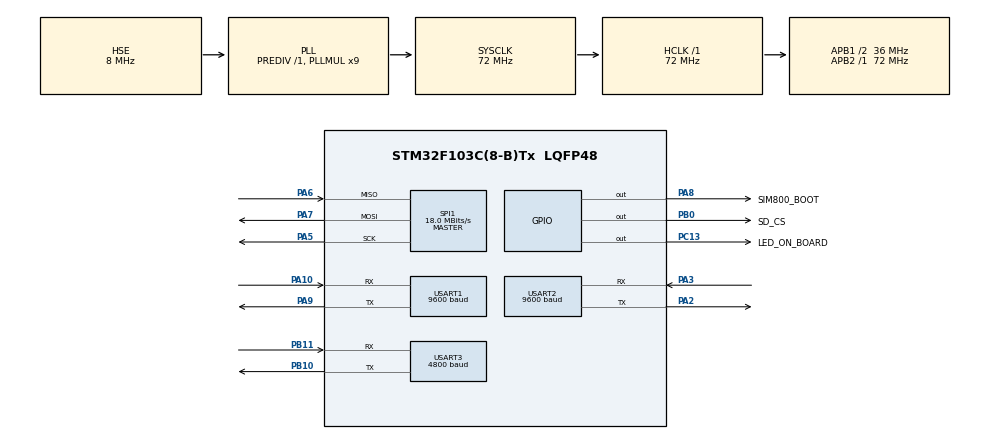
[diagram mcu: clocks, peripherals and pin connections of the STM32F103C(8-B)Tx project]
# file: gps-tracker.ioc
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Dma.Request0=USART1_RX
Dma.Request1=USART1_TX
Dma.Request2=USART3_RX
Dma.Request3=USART3_TX
Dma.USART1_RX.0.Direction=DMA_PERIPH_TO_MEMORY
Dma.USART1_RX.0.Instance=DMA1_Channel5
Dma.USART1_RX.0.MemDataAlignment=DMA_MDATAALIGN_BYTE
Dma.USART1_RX.0.MemInc=DMA_MINC_ENABLE
Dma.USART1_RX.0.Mode=DMA_CIRCULAR
Dma.USART1_RX.0.PeriphDataAlignment=DMA_PDATAALIGN_BYTE
Dma.USART1_RX.0.PeriphInc=DMA_PINC_DISABLE
Dma.USART1_RX.0.Priority=DMA_PRIORITY_LOW
Dma.USART1_TX.1.Direction=DMA_MEMORY_TO_PERIPH
Dma.USART1_TX.1.Instance=DMA1_Channel4
Dma.USART1_TX.1.MemDataAlignment=DMA_MDATAALIGN_BYTE
Dma.USART1_TX.1.MemInc=DMA_MINC_ENABLE
Dma.USART1_TX.1.Mode=DMA_NORMAL
Dma.USART1_TX.1.PeriphDataAlignment=DMA_PDATAALIGN_BYTE
Dma.USART1_TX.1.PeriphInc=DMA_PINC_DISABLE
Dma.USART1_TX.1.Priority=DMA_PRIORITY_LOW
Dma.USART3_RX.2.Direction=DMA_PERIPH_TO_MEMORY
Dma.USART3_RX.2.Instance=DMA1_Channel3
Dma.USART3_RX.2.MemDataAlignment=DMA_MDATAALIGN_BYTE
Dma.USART3_RX.2.MemInc=DMA_MINC_ENABLE
Dma.USART3_RX.2.Mode=DMA_CIRCULAR
Dma.USART3_RX.2.PeriphDataAlignment=DMA_PDATAALIGN_BYTE
Dma.USART3_RX.2.PeriphInc=DMA_PINC_DISABLE
Dma.USART3_RX.2.Priority=DMA_PRIORITY_LOW
Dma.USART3_TX.3.Direction=DMA_MEMORY_TO_PERIPH
Dma.USART3_TX.3.Instance=DMA1_Channel2
Dma.USART3_TX.3.MemDataAlignment=DMA_MDATAALIGN_BYTE
Dma.USART3_TX.3.MemInc=DMA_MINC_ENABLE
Dma.USART3_TX.3.Mode=DMA_NORMAL
Dma.USART3_TX.3.PeriphDataAlignment=DMA_PDATAALIGN_BYTE
Dma.USART3_TX.3.PeriphInc=DMA_PINC_DISABLE
Dma.USART3_TX.3.Priority=DMA_PRIORITY_LOW
FREERTOS.Tasks01=defaultTask,0,128,StartDefaultTask,Default,NULL
Mcu.Family=STM32F1
Mcu.Name=STM32F103C(8-B)Tx
Mcu.Package=LQFP48
NVIC.DMA1_Channel2_IRQn=true\:5\:0\:false\:false\:true\:true\:false
NVIC.DMA1_Channel3_IRQn=true\:5\:0\:false\:false\:true\:true\:false
NVIC.DMA1_Channel4_IRQn=true\:5\:0\:false\:false\:true\:true\:false
NVIC.DMA1_Channel5_IRQn=true\:5\:0\:false\:false\:true\:true\:false
NVIC.PriorityGroup=NVIC_PRIORITYGROUP_4
NVIC.TIM1_UP_IRQn=true\:0\:0\:false\:false\:true\:false\:false
NVIC.TimeBase=TIM1_UP_IRQn
NVIC.TimeBaseIP=TIM1
NVIC.USART1_IRQn=true\:5\:0\:false\:false\:true\:true\:true
NVIC.USART2_IRQn=true\:5\:0\:false\:false\:true\:true\:true
PA10.Mode=Asynchronous
PA10.Signal=USART1_RX
PA13.Mode=Serial_Wire
PA13.Signal=SYS_JTMS-SWDIO
PA14.Mode=Serial_Wire
PA14.Signal=SYS_JTCK-SWCLK
PA2.Mode=Asynchronous
PA2.Signal=USART2_TX
PA3.Mode=Asynchronous
PA3.Signal=USART2_RX
PA5.Mode=Full_Duplex_Master
PA5.Signal=SPI1_SCK
PA6.Mode=Full_Duplex_Master
PA6.Signal=SPI1_MISO
PA7.Mode=Full_Duplex_Master
PA7.Signal=SPI1_MOSI
PA8.GPIO_Label=SIM800_BOOT
PA8.Signal=GPIO_Output
PA9.Mode=Asynchronous
PA9.Signal=USART1_TX
PB0.GPIO_Label=SD_CS
PB0.Signal=GPIO_Output
PB10.Mode=Asynchronous
PB10.Signal=USART3_TX
PB11.Mode=Asynchronous
PB11.Signal=USART3_RX
PC13-TAMPER-RTC.GPIO_Label=LED_ON_BOARD
PC13-TAMPER-RTC.Signal=GPIO_Output
PD0-OSC_IN.Mode=HSE-External-Oscillator
PD0-OSC_IN.Signal=RCC_OSC_IN
PD1-OSC_OUT.Mode=HSE-External-Oscillator
PD1-OSC_OUT.Signal=RCC_OSC_OUT
ProjectManager.HeapSize=0x200
ProjectManager.StackSize=0x400
ProjectManager.TargetToolchain=SW4STM32
RCC.AHBFreq_Value=72000000
RCC.APB1CLKDivider=RCC_HCLK_DIV2
RCC.APB1Freq_Value=36000000
RCC.APB1TimFreq_Value=72000000
RCC.APB2Freq_Value=72000000
RCC.APB2TimFreq_Value=72000000
RCC.HCLKFreq_Value=72000000
RCC.PLLMUL=RCC_PLL_MUL9
RCC.PLLSourceVirtual=RCC_PLLSOURCE_HSE
RCC.SYSCLKFreq_VALUE=72000000
RCC.SYSCLKSource=RCC_SYSCLKSOURCE_PLLCLK
RCC.USBFreq_Value=72000000
SPI1.BaudRatePrescaler=SPI_BAUDRATEPRESCALER_4
SPI1.CalculateBaudRate=18.0 MBits/s
SPI1.Direction=SPI_DIRECTION_2LINES
SPI1.Mode=SPI_MODE_MASTER
SPI1.VirtualType=VM_MASTER
USART1.BaudRate=9600
USART1.VirtualMode=VM_ASYNC
USART2.BaudRate=9600
USART2.VirtualMode=VM_ASYNC
USART3.BaudRate=4800
USART3.VirtualMode=VM_ASYNC
VP_FATFS_VS_Generic.Mode=User_defined
VP_FREERTOS_VS_ENABLE.Mode=Enabled
VP_SYS_VS_tim1.Mode=TIM1
board=custom

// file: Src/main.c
/* USER CODE BEGIN Header */
/**
  ******************************************************************************
  * @file           : main.c
  * @brief          : Main program body
  ******************************************************************************
  * This notice applies to any and all portions of this file
  * that are not between comment pairs USER CODE BEGIN and
  * USER CODE END. Other portions of this file, whether
  * inserted by the user or by software development tools
  * are owned by their respective copyright owners.
  *
  * Copyright (c) 2019 STMicroelectronics International N.V.
  * All rights reserved.
  *
  * Redistribution and use in source and binary forms, with or without
  * modification, are permitted, provided that the following conditions are met:
  *
  * 1. Redistribution of source code must retain the above copyright notice,
  *    this list of conditions and the following disclaimer.
  * 2. Redistributions in binary form must reproduce the above copyright notice,
  *    this list of conditions and the following disclaimer in the documentation
  *    and/or other materials provided with the distribution.
  * 3. Neither the name of STMicroelectronics nor the names of other
  *    contributors to this software may be used to endorse or promote products
  *    derived from this software without specific written permission.
  * 4. This software, including modifications and/or derivative works of this
  *    software, must execute solely and exclusively on microcontroller or
  *    microprocessor devices manufactured by or for STMicroelectronics.
  * 5. Redistribution and use of this software other than as permitted under
  *    this license is void and will automatically terminate your rights under
  *    this license.
  *
  * THIS SOFTWARE IS PROVIDED BY STMICROELECTRONICS AND CONTRIBUTORS "AS IS"
  * AND ANY EXPRESS, IMPLIED OR STATUTORY WARRANTIES, INCLUDING, BUT NOT
  * LIMITED TO, THE IMPLIED WARRANTIES OF MERCHANTABILITY, FITNESS FOR A
  * PARTICULAR PURPOSE AND NON-INFRINGEMENT OF THIRD PARTY INTELLECTUAL PROPERTY
  * RIGHTS ARE DISCLAIMED TO THE FULLEST EXTENT PERMITTED BY LAW. IN NO EVENT
  * SHALL STMICROELECTRONICS OR CONTRIBUTORS BE LIABLE FOR ANY DIRECT, INDIRECT,
  * INCIDENTAL, SPECIAL, EXEMPLARY, OR CONSEQUENTIAL DAMAGES (INCLUDING, BUT NOT
  * LIMITED TO, PROCUREMENT OF SUBSTITUTE GOODS OR SERVICES; LOSS OF USE, DATA,
  * OR PROFITS; OR BUSINESS INTERRUPTION) HOWEVER CAUSED AND ON ANY THEORY OF
  * LIABILITY, WHETHER IN CONTRACT, STRICT LIABILITY, OR TORT (INCLUDING
  * NEGLIGENCE OR OTHERWISE) ARISING IN ANY WAY OUT OF THE USE OF THIS SOFTWARE,
  * EVEN IF ADVISED OF THE POSSIBILITY OF SUCH DAMAGE.
  *
  ******************************************************************************
  */
/* USER CODE END Header */

#include "main.h"
#include "cmsis_os.h"
#include "fatfs.h"

/* USER CODE BEGIN Includes */
#include "utils/SDcard.h"
#include "utils/uart_debug.h"
#include "utils/SIM800.h"
#include "utils/GP4SF1109F2.h"
#include "tasks/GSM_module_task.h"
#include "tasks/GPS_module_task.h"
/* USER CODE END Includes */

SPI_HandleTypeDef hspi1;

UART_HandleTypeDef huart1;
UART_HandleTypeDef huart2;
UART_HandleTypeDef huart3;
DMA_HandleTypeDef hdma_usart1_rx;
DMA_HandleTypeDef hdma_usart1_tx;
DMA_HandleTypeDef hdma_usart3_rx;
DMA_HandleTypeDef hdma_usart3_tx;

osThreadId defaultTaskHandle;
/* USER CODE BEGIN PV */
osThreadId GSMModuleTaskHandle;
osThreadId GPSModuleTaskHandle;
/* USER CODE END PV */

char DATE[9] = "xxxxxxxx"; // YYYYmmdd\0

void SystemClock_Config(void);
static void MX_GPIO_Init(void);
static void MX_DMA_Init(void);
static void MX_SPI1_Init(void);
static void MX_USART1_UART_Init(void);
static void MX_USART2_UART_Init(void);
static void MX_USART3_UART_Init(void);
void StartDefaultTask(void const * argument);

int main(void)
{

  /* MCU Configuration--------------------------------------------------------*/

  /* Reset of all peripherals, Initializes the Flash interface and the Systick. */
  HAL_Init();

  /* Configure the system clock */
  SystemClock_Config();

  /* Initialize all configured peripherals */
  MX_GPIO_Init();
  MX_DMA_Init();
  MX_SPI1_Init();
  MX_USART1_UART_Init();
  MX_USART2_UART_Init();
  MX_USART3_UART_Init();
  /* USER CODE BEGIN 2 */
  SDcard_init();

  // TODO move to GPS task
  GPSinit(&huart3);

    HAL_UART_Transmit_DMA(&huart1, (uint8_t*)"---------\r\n", 11);

    GPS_Msg_t *GPSMsg;

    for(;;){
        GPSMsg = GPS_waitMessage(30000);
        if (GPSMsg->isMsgReceived == 1) {
            SDCard_save(DATE, GPSMsg->msg);
            HAL_UART_Transmit_DMA(&huart1, (uint8_t*)GPSMsg->msg, GPSMsg->msgBuffSize);
            HAL_Delay(100);
        }

  //      HAL_Delay(200);
    }

  /* USER CODE END 2 */

  /* Create the thread(s) */
  /* definition and creation of defaultTask */
  osThreadDef(defaultTask, StartDefaultTask, osPriorityNormal, 0, 128);
  defaultTaskHandle = osThreadCreate(osThread(defaultTask), NULL);

  /* USER CODE BEGIN RTOS_THREADS */

  // GSM task - receive and handle commands
  osThreadDef(GSMModuleTask, StartGSMModuleTask, osPriorityNormal, 0, 128);
  GSMModuleTaskHandle = osThreadCreate(osThread(GSMModuleTask), NULL);

  // GPS task
  osThreadDef(GPSModuleTask, StartGPSModuleTask, osPriorityNormal, 0, 128);
  GPSModuleTaskHandle = osThreadCreate(osThread(GPSModuleTask), NULL);

  /* USER CODE END RTOS_THREADS */

  /* Start scheduler */
  osKernelStart();

  /* We should never get here as control is now taken by the scheduler */

  /* Infinite loop */
  while (1)
  {

  }
}

void SystemClock_Config(void)
{
  RCC_OscInitTypeDef RCC_OscInitStruct = {0};
  RCC_ClkInitTypeDef RCC_ClkInitStruct = {0};

  /**Initializes the CPU, AHB and APB busses clocks
  */
  RCC_OscInitStruct.OscillatorType = RCC_OSCILLATORTYPE_HSE;
  RCC_OscInitStruct.HSEState = RCC_HSE_ON;
  RCC_OscInitStruct.HSEPredivValue = RCC_HSE_PREDIV_DIV1;
  RCC_OscInitStruct.HSIState = RCC_HSI_ON;
  RCC_OscInitStruct.PLL.PLLState = RCC_PLL_ON;
  RCC_OscInitStruct.PLL.PLLSource = RCC_PLLSOURCE_HSE;
  RCC_OscInitStruct.PLL.PLLMUL = RCC_PLL_MUL9;
  if (HAL_RCC_OscConfig(&RCC_OscInitStruct) != HAL_OK)
  {
    Error_Handler();
  }
  /**Initializes the CPU, AHB and APB busses clocks
  */
  RCC_ClkInitStruct.ClockType = RCC_CLOCKTYPE_HCLK|RCC_CLOCKTYPE_SYSCLK
                              |RCC_CLOCKTYPE_PCLK1|RCC_CLOCKTYPE_PCLK2;
  RCC_ClkInitStruct.SYSCLKSource = RCC_SYSCLKSOURCE_PLLCLK;
  RCC_ClkInitStruct.AHBCLKDivider = RCC_SYSCLK_DIV1;
  RCC_ClkInitStruct.APB1CLKDivider = RCC_HCLK_DIV2;
  RCC_ClkInitStruct.APB2CLKDivider = RCC_HCLK_DIV1;

  if (HAL_RCC_ClockConfig(&RCC_ClkInitStruct, FLASH_LATENCY_2) != HAL_OK)
  {
    Error_Handler();
  }
}

static void MX_SPI1_Init(void)
{

  /* SPI1 parameter configuration*/
  hspi1.Instance = SPI1;
  hspi1.Init.Mode = SPI_MODE_MASTER;
  hspi1.Init.Direction = SPI_DIRECTION_2LINES;
  hspi1.Init.DataSize = SPI_DATASIZE_8BIT;
  hspi1.Init.CLKPolarity = SPI_POLARITY_LOW;
  hspi1.Init.CLKPhase = SPI_PHASE_1EDGE;
  hspi1.Init.NSS = SPI_NSS_SOFT;
  hspi1.Init.BaudRatePrescaler = SPI_BAUDRATEPRESCALER_4;
  hspi1.Init.FirstBit = SPI_FIRSTBIT_MSB;
  hspi1.Init.TIMode = SPI_TIMODE_DISABLE;
  hspi1.Init.CRCCalculation = SPI_CRCCALCULATION_DISABLE;
  hspi1.Init.CRCPolynomial = 10;
  if (HAL_SPI_Init(&hspi1) != HAL_OK)
  {
    Error_Handler();
  }

}

static void MX_USART1_UART_Init(void)
{

  huart1.Instance = USART1;
  huart1.Init.BaudRate = 9600;
  huart1.Init.WordLength = UART_WORDLENGTH_8B;
  huart1.Init.StopBits = UART_STOPBITS_1;
  huart1.Init.Parity = UART_PARITY_NONE;
  huart1.Init.Mode = UART_MODE_TX_RX;
  huart1.Init.HwFlowCtl = UART_HWCONTROL_NONE;
  huart1.Init.OverSampling = UART_OVERSAMPLING_16;
  if (HAL_UART_Init(&huart1) != HAL_OK)
  {
    Error_Handler();
  }

}

static void MX_USART2_UART_Init(void)
{

  huart2.Instance = USART2;
  huart2.Init.BaudRate = 9600;
  huart2.Init.WordLength = UART_WORDLENGTH_8B;
  huart2.Init.StopBits = UART_STOPBITS_1;
  huart2.Init.Parity = UART_PARITY_NONE;
  huart2.Init.Mode = UART_MODE_TX_RX;
  huart2.Init.HwFlowCtl = UART_HWCONTROL_NONE;
  huart2.Init.OverSampling = UART_OVERSAMPLING_16;
  if (HAL_UART_Init(&huart2) != HAL_OK)
  {
    Error_Handler();
  }

}

static void MX_USART3_UART_Init(void)
{

  huart3.Instance = USART3;
  //huart3.Init.BaudRate = 4800;
  huart3.Init.BaudRate = 9600;
  huart3.Init.WordLength = UART_WORDLENGTH_8B;
  huart3.Init.StopBits = UART_STOPBITS_1;
  huart3.Init.Parity = UART_PARITY_NONE;
  huart3.Init.Mode = UART_MODE_TX_RX;
  huart3.Init.HwFlowCtl = UART_HWCONTROL_NONE;
  huart3.Init.OverSampling = UART_OVERSAMPLING_16;
  if (HAL_UART_Init(&huart3) != HAL_OK)
  {
    Error_Handler();
  }

}

static void MX_DMA_Init(void)
{
  /* DMA controller clock enable */
  __HAL_RCC_DMA1_CLK_ENABLE();

  /* DMA interrupt init */
  /* DMA1_Channel2_IRQn interrupt configuration */
  HAL_NVIC_SetPriority(DMA1_Channel2_IRQn, 5, 0);
  HAL_NVIC_EnableIRQ(DMA1_Channel2_IRQn);
  /* DMA1_Channel3_IRQn interrupt configuration */
  HAL_NVIC_SetPriority(DMA1_Channel3_IRQn, 5, 0);
  HAL_NVIC_EnableIRQ(DMA1_Channel3_IRQn);
  /* DMA1_Channel4_IRQn interrupt configuration */
  HAL_NVIC_SetPriority(DMA1_Channel4_IRQn, 5, 0);
  HAL_NVIC_EnableIRQ(DMA1_Channel4_IRQn);
  /* DMA1_Channel5_IRQn interrupt configuration */
  HAL_NVIC_SetPriority(DMA1_Channel5_IRQn, 5, 0);
  HAL_NVIC_EnableIRQ(DMA1_Channel5_IRQn);

}

static void MX_GPIO_Init(void)
{
  GPIO_InitTypeDef GPIO_InitStruct = {0};

  /* GPIO Ports Clock Enable */
  __HAL_RCC_GPIOC_CLK_ENABLE();
  __HAL_RCC_GPIOD_CLK_ENABLE();
  __HAL_RCC_GPIOA_CLK_ENABLE();
  __HAL_RCC_GPIOB_CLK_ENABLE();

  /*Configure GPIO pin Output Level */
  HAL_GPIO_WritePin(LED_ON_BOARD_GPIO_Port, LED_ON_BOARD_Pin, GPIO_PIN_RESET);

  /*Configure GPIO pin Output Level */
  HAL_GPIO_WritePin(SD_CS_GPIO_Port, SD_CS_Pin, GPIO_PIN_RESET);

  /*Configure GPIO pin Output Level */
  HAL_GPIO_WritePin(SIM800_BOOT_GPIO_Port, SIM800_BOOT_Pin, GPIO_PIN_RESET);

  /*Configure GPIO pin : LED_ON_BOARD_Pin */
  GPIO_InitStruct.Pin = LED_ON_BOARD_Pin;
  GPIO_InitStruct.Mode = GPIO_MODE_OUTPUT_PP;
  GPIO_InitStruct.Pull = GPIO_NOPULL;
  GPIO_InitStruct.Speed = GPIO_SPEED_FREQ_LOW;
  HAL_GPIO_Init(LED_ON_BOARD_GPIO_Port, &GPIO_InitStruct);

  /*Configure GPIO pin : SD_CS_Pin */
  GPIO_InitStruct.Pin = SD_CS_Pin;
  GPIO_InitStruct.Mode = GPIO_MODE_OUTPUT_PP;
  GPIO_InitStruct.Pull = GPIO_NOPULL;
  GPIO_InitStruct.Speed = GPIO_SPEED_FREQ_LOW;
  HAL_GPIO_Init(SD_CS_GPIO_Port, &GPIO_InitStruct);

  /*Configure GPIO pin : SIM800_BOOT_Pin */
  GPIO_InitStruct.Pin = SIM800_BOOT_Pin;
  GPIO_InitStruct.Mode = GPIO_MODE_OUTPUT_PP;
  GPIO_InitStruct.Pull = GPIO_NOPULL;
  GPIO_InitStruct.Speed = GPIO_SPEED_FREQ_LOW;
  HAL_GPIO_Init(SIM800_BOOT_GPIO_Port, &GPIO_InitStruct);

}

/* USER CODE BEGIN 4 */
void HAL_UART_RxCpltCallback(UART_HandleTypeDef *huart) {
    // receive data from GSM SIM800
       if (huart == &huart1) {
           SIM800_Rx_callback(huart);
       } else if(huart == &huart3) {
           GPS_Rx_callback(&huart3);
       }
}

void HAL_UART_TxCpltCallback(UART_HandleTypeDef *huart) {
    if (huart == &huart1) {
        SIM800_Tx_callback(huart);
    }
}

void UART_DMA_Check_Rx_Buff(UART_DMA_Rx_t *RxBuff)
{
    uint16_t currCNDTR = __HAL_DMA_GET_COUNTER(RxBuff->huart->hdmarx);
    volatile uint16_t dataPos;   // start data position
    volatile uint16_t dataLen;       // data length

    // check if have new data
    if (currCNDTR != RxBuff->prevCNDTR) {

        uint16_t i;

        // find start pos for received buff if it not empty
        uint16_t _pos;
        for (_pos = 0; _pos < RxBuff->receivedMsgBuffSize; _pos++) {
            if (RxBuff->receivedMsgBuff[_pos] == '\0') {
                break;
            }
        }

        dataPos = RxBuff->respTmpBuffSize - RxBuff->prevCNDTR;

        // linear mode, wasn't buff overflow
        if (RxBuff->prevCNDTR > currCNDTR) {
            dataLen = RxBuff->prevCNDTR - currCNDTR;

            if (dataLen + _pos <= RxBuff->receivedMsgBuffSize) {
                // copy data, continued from end of prev message in received buff
                for (i = dataPos; i < dataPos+dataLen; i++, _pos++) {
                    RxBuff->receivedMsgBuff[_pos] = RxBuff->respTmpBuff[i];
                }
            } else {
                Error_Handler();
            }

        // circular DMA buffer had overflowed and started from zero
        } else {

            // copy first part from end DMA buff
            dataLen = RxBuff->prevCNDTR;
            if (dataLen + _pos <= RxBuff->receivedMsgBuffSize) {

                // copy from prev position to the end of circular buffer
                for (i = dataPos; i < RxBuff->respTmpBuffSize; i++, _pos++) {
                    RxBuff->receivedMsgBuff[_pos] = RxBuff->respTmpBuff[i];
                }
            } else {
                Error_Handler();
            }

            // copy second part from start of DMA buff
            dataPos = 0;
            dataLen = RxBuff->respTmpBuffSize - currCNDTR;
            if (dataLen + _pos <= RxBuff->receivedMsgBuffSize) {
                for (i = dataPos; i < dataLen; i++, _pos++) {
                    RxBuff->receivedMsgBuff[_pos] = RxBuff->respTmpBuff[i];
                }
            } else {
                Error_Handler();
            }
        }

        // TODO remove it
        //HAL_UART_Transmit_DMA(&huart1, (uint8_t*)RxBuff->receivedMsgBuff, RxBuff->receivedMsgBuffSize);
        RxBuff->prevCNDTR = currCNDTR;
    }
}
/* USER CODE END 4 */

void StartDefaultTask(void const * argument)
{
  /* init code for FATFS */
  MX_FATFS_Init();

  /* USER CODE BEGIN 5 */
  /* Infinite loop */
  for(;;)
  {
    osDelay(100);

    HAL_GPIO_WritePin(GPIOC, GPIO_PIN_13, GPIO_PIN_RESET);
    osDelay(100);

    HAL_GPIO_WritePin(GPIOC, GPIO_PIN_13, GPIO_PIN_SET);

    osDelay(1000);
  }
  /* USER CODE END 5 */
}

void HAL_TIM_PeriodElapsedCallback(TIM_HandleTypeDef *htim)
{
  if (htim->Instance == TIM1) {
    HAL_IncTick();
  }
}

void Error_Handler(void)
{
  /* USER CODE BEGIN Error_Handler_Debug */
  /* User can add his own implementation to report the HAL error return state */

//   char str[80];
//   strcpy(str, "err: ");
//   strcpy(str, file);
//   strcpy(str, " line: ");
//   strcpy(str, (char) line);
//   strcpy(str, "\n");
//   uartDebugSendStr(str);
    HAL_UART_Transmit_DMA(&huart1, (uint8_t*)"ERR", 3);

  /* USER CODE END Error_Handler_Debug */
}

/************************ (C) COPYRIGHT STMicroelectronics *****END OF FILE****/
